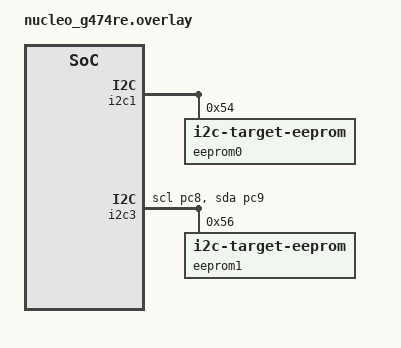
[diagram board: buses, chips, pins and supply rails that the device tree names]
/* SPDX-License-Identifier: Apache-2.0 */

/* I2C bus pins are exposed on the ST morpho header.
 *
 *  Bus        SDA               SCL
 *          Pin   Hdr         Pin   Hdr
 *  i2c1    PB9   CN10:5      PB8   CN10:3
 *  i2c3    PC9   CN10:1      PC8   CN10:2
 *
 * Short Pin PB9 to PC9, and PB8 to PC8, for the test to pass.
 */

#define IC2_TEST_0_DMA_TX <&dmamux1 2 17 (STM32_DMA_PERIPH_TX | STM32_DMA_PRIORITY_HIGH)>
#define IC2_TEST_0_DMA_RX <&dmamux1 1 16 (STM32_DMA_PERIPH_RX | STM32_DMA_PRIORITY_HIGH)>

i2c_test_0: &i2c1 {
	dmas = IC2_TEST_0_DMA_TX, IC2_TEST_0_DMA_RX;
	dma-names = "tx", "rx";

	eeprom0: eeprom@54 {
		compatible = "zephyr,i2c-target-eeprom";
		reg = <0x54>;
		size = <256>;
	};
};

#define IC2_TEST_1_DMA_TX <&dmamux1 4 21 (STM32_DMA_PERIPH_TX | STM32_DMA_PRIORITY_HIGH)>
#define IC2_TEST_1_DMA_RX <&dmamux1 3 20 (STM32_DMA_PERIPH_RX | STM32_DMA_PRIORITY_HIGH)>

i2c_test_1: &i2c3 {
	pinctrl-0 = <&i2c3_scl_pc8 &i2c3_sda_pc9>;
	pinctrl-names = "default";
	scl-gpios = <&gpioc 8 GPIO_ACTIVE_HIGH>;
	sda-gpios = <&gpioc 9 GPIO_ACTIVE_HIGH>;
	dmas = IC2_TEST_1_DMA_TX, IC2_TEST_1_DMA_RX;
	dma-names = "tx", "rx";
	status = "okay";

	eeprom1: eeprom@56 {
		compatible = "zephyr,i2c-target-eeprom";
		reg = <0x56>;
		size = <256>;
	};
};

&dma1 {
	status = "okay";
};

&dma2 {
	status = "okay";
};

&dmamux1 {
	status = "okay";
};
